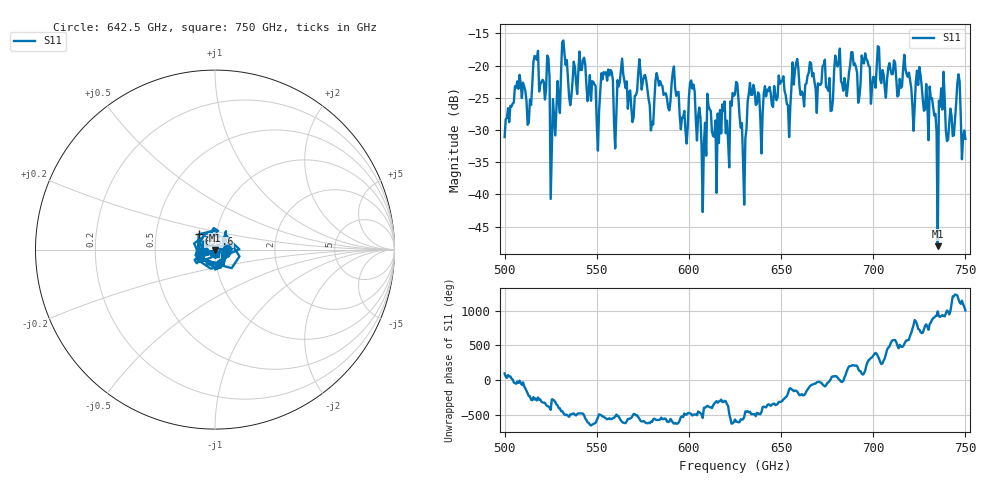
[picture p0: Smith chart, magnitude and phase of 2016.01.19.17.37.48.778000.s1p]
!Created with skrf (http://scikit-rf.org).
# GHz S RI R 50.0
!freq ReS11 ImS11
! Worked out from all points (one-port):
!   401 points, 500 GHz to 750 GHz, reference 50 ohm
!   lowest |S11| = -48.0 dB at 735 GHz (marker M1), VSWR 1.01, Z = 50 - j0.396 ohm
!   |S11| at or under -10 dB: start of sweep to end of sweep
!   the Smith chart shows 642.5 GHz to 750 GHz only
!   S11 on the Smith chart (normalised r, x): 642.5 GHz: 1.14, +0.01; 695.6 GHz: 0.82, +0.14; 750 GHz: 1.01, -0.05
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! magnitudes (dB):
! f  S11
! 500 GHz  -31.1
! 506.9 GHz  -22.5
! 513.1 GHz  -28.9
! 516.9 GHz  -18.6
! 523.1 GHz  -18.4
! 526.2 GHz  -25.2
! 531.2 GHz  -16.3
! 550.6 GHz  -33.2
! 562.5 GHz  -22.5
! 593.8 GHz  -24.2
! 598.1 GHz  -30.1
! 601.9 GHz  -23.6
! 608.1 GHz  -32.1
! 611.2 GHz  -26.8
! 621.2 GHz  -31.8
! 625 GHz  -24.5
! 630 GHz  -41.6
! 633.8 GHz  -24.6
! 642.5 GHz  -23.7
! 656.2 GHz  -19.5
! 687.5 GHz  -19.9
! 695.6 GHz  -18.1
! 718.8 GHz  -21.7
! 735 GHz  -48.0
! 736.9 GHz  -23.5
! 740.6 GHz  -31.4
! 746.2 GHz  -21.3
! 750 GHz  -31.4
